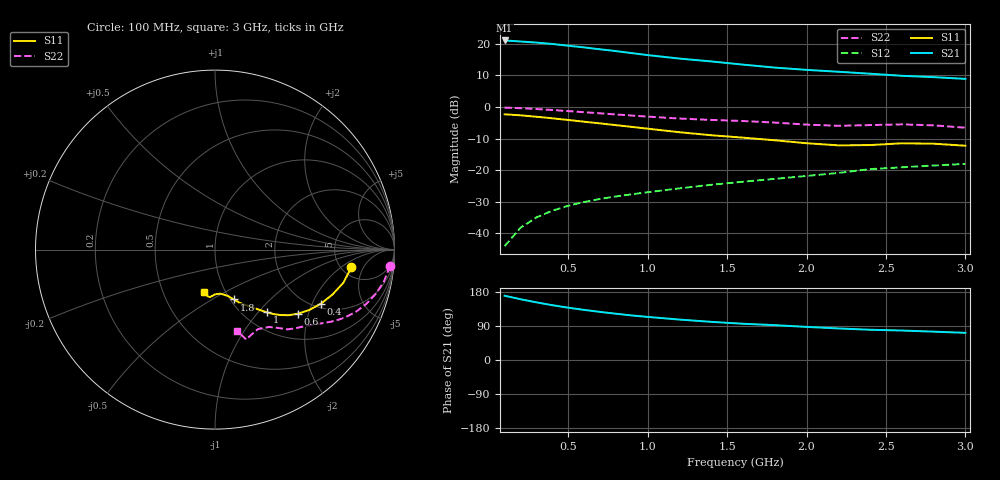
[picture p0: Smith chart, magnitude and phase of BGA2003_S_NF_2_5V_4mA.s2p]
! Title: BGA2003
! Bias: V(Vs_Out)=2.5V; I(CTRL)=4mA controlled / noise data included
! Company: Philips Semiconductors NL
! User: Quality&Reliability DiscreteSemiConductors-Nijmegen
! Measure time: 15 Jan 1999 / 14:07:03
#  MHz  S  MA  R 50
! Freq  S11  S21  S12  S22  :
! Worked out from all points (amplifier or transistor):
!   20 points, 100 MHz to 3 GHz, reference 50 ohm
!   highest |S21| = 21.1 dB at 100 MHz (marker M1)
!   |S21| within 3 dB of that: start of sweep to 735.5 MHz
!   unconditionally stable (mu >= 1): 1.502 GHz to end of sweep
!   at 400 MHz: K = 0.38, MSG = 26.4 dB, |S12| = -32.8 dB
!   at 1.2 GHz: K = 0.91, MSG = 20.6 dB, |S12| = -25.8 dB
!   at 3 GHz: K = 1.12, MAG = 11.3 dB, |S12| = -18.0 dB
!   lowest NFmin = 1.43 dB at 900 MHz
!   S11 on the Smith chart (normalised r, x): 100 MHz: 6.13, -2.94; 400 MHz: 2.16, -2.32; 600 MHz: 1.59, -1.72; 1 GHz: 1.27, -1.11; 1.8 GHz: 1.04, -0.63; 3 GHz: 0.80, -0.40
100  0.7665 -7.4  11.32 169.6  0.006252 84.5  0.979 -5.4
200  0.7387 -14.5  10.9 160.4  0.01224 81.9  0.9583 -10.6
300  0.701 -20.9  10.48 152.2  0.01783 78.4  0.9291 -15.4
400  0.6622 -27.1  9.964 144.6  0.02282 76.2  0.8965 -19.6
500  0.6235 -32.7  9.343 138.1  0.02724 74.7  0.8618 -23.4
600  0.5851 -37.5  8.792 132.3  0.03129 73.7  0.8268 -26.6
700  0.5506 -41.6  8.203 127.0  0.03499 73.1  0.7944 -29.4
800  0.516 -45.0  7.682 122.1  0.03831 72.8  0.7626 -31.8
900  0.4845 -47.8  7.132 117.5  0.04142 72.7  0.7321 -33.9
1000  0.4537 -50.4  6.642 113.7  0.04468 73.2  0.7039 -36.1
1200  0.3987 -55.5  5.844 106.7  0.05145 74.2  0.6567 -40.5
1400  0.3573 -60.6  5.272 100.7  0.05865 75.6  0.6246 -44.7
1600  0.3271 -65.1  4.692 95.6  0.0656 77.3  0.6001 -47.8
1800  0.2973 -69.2  4.209 91.9  0.07269 78.8  0.5668 -50.5
2000  0.2669 -74.8  3.873 87.4  0.08091 78.9  0.5263 -55.0
2200  0.247 -83.2  3.618 83.3  0.09024 79.2  0.5036 -61.7
2400  0.2493 -90.0  3.366 79.8  0.1039 79.4  0.5173 -67.5
2600  0.2663 -96.1  3.12 77.7  0.111 79.7  0.5307 -70.8
2800  0.2622 -99.5  2.971 74.8  0.1185 80.0  0.5126 -71.9
3000  0.2437 -104.7  2.789 71.7  0.1257 79.8  0.4695 -75.0
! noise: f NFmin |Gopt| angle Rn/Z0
900  1.43  0.22  14.67  0.24
1000  1.44  0.21  17.37  0.29
1800  1.47  0.11  66.91  0.2
2000  1.51  0.15  97.18  0.23
2400  1.7  0.09  85.4  0.21
